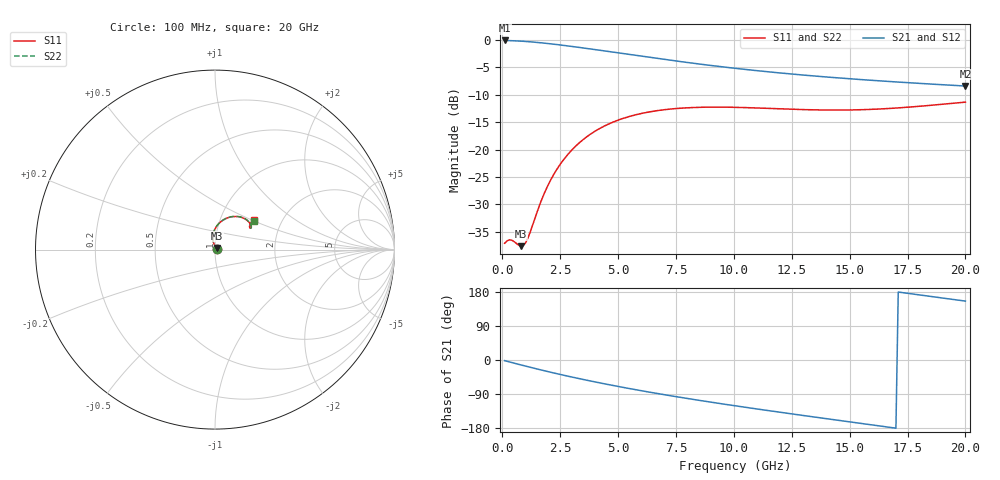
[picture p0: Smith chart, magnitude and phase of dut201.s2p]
! Touchstone file exported from HFSS 2024.1.0
!  File:  C:/UserFiles/LocalFiles/RDL_TSV_Batchsim/temp_RDL_TSV_201_1779444197.aedt
!  Generated:  06:15:59 PM May 22, 2026
!  Design:  RDL_TSV
!  Project:  temp_RDL_TSV_201_1779444197
!  Setup:  Setup1
!  Solution:  Sweep
! Variables:
!  dtsv = 7.25um
!  hbump = 3um
!  htsv = 78.6um
!  ldown = 288.49um
!  lrdl = 532.8um
!  p = 40
!  p1 = 42.14um
!  rhole = 10um
!  subl = 2996.67um
!  t = 450um
!  tdown = 3.43um
!  trdl = 3.89um
!  viad = 10um
!  wdown = 24.47um
!  wrdl = 22.27um
!  xbump = 18um
# GHz S MA R 50.000000
! Terminal data exported
! Port[1] = TM1_1_T1
! Port[2] = TM1_4_T1
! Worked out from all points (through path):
!   200 points, 100 MHz to 20 GHz, reference 50 ohm
!   highest |S21| = -0.12 dB at 100 MHz (marker M1); lowest = -8.4 dB at 20 GHz (marker M2)
!   group delay of S21, straight-line fit = 27.1 ps
!   lowest |S11| = -37.6 dB at 800 MHz (marker M3), VSWR 1.03, Z = 51 + j0.922 ohm
!   |S11| at or under -10 dB: start of sweep to end of sweep
!   |S22| runs from -37.6 to -11.4 dB; largest |S21 - S12| = 1.1e-14
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0.1  0.01398 7.5  0.9858 -1.7  0.9858 -1.7  0.01398 7.5
! Gamma 0 0 0 0
! Port Impedance 50 0 50 0
0.3  0.01502 15.5  0.9828 -5.0  0.9828 -5.0  0.01501 15.5
0.4  0.01494 18.5  0.981 -6.6  0.981 -6.6  0.01494 18.5
0.8  0.01315 43.4  0.9717 -12.9  0.9717 -12.9  0.01314 43.5
0.9  0.01329 53.7  0.9688 -14.5  0.9688 -14.5  0.01328 53.8
1.1  0.01547 74.3  0.9622 -17.6  0.9622 -17.6  0.01547 74.5
1.7  0.03489 100.9  0.9375 -26.7  0.9375 -26.7  0.03494 101.1
1.9  0.04374 102.2  0.928 -29.6  0.928 -29.6  0.04381 102.3
2.2  0.05811 101.6  0.913 -33.9  0.913 -33.9  0.05821 101.7
2.8  0.08859 96.2  0.881 -42.2  0.881 -42.2  0.08878 96.3
3.5  0.1236 87.8  0.8422 -51.5  0.8422 -51.5  0.1239 87.9
4.2  0.1552 79.2  0.8034 -60.3  0.8034 -60.3  0.1556 79.3
4.9  0.1818 71.1  0.7655 -68.6  0.7655 -68.6  0.1824 71.2
5.8  0.2082 61.9  0.7191 -78.8  0.7191 -78.8  0.2089 61.9
6.8  0.2277 53.1  0.6714 -89.5  0.6714 -89.5  0.2287 53.2
8.4  0.242 42.4  0.6052 -105.5  0.6052 -105.5  0.2432 42.5
10.1  0.2422 35.1  0.5481 -121.3  0.5481 -121.3  0.2436 35.1
11.7  0.2361 31.6  0.5053 -135.3  0.5053 -135.3  0.2377 31.5
13.4  0.23 31.1  0.469 -149.9  0.469 -149.9  0.2315 30.9
15  0.2292 32.6  0.4413 -163.3  0.4413 -163.3  0.2306 32.3
16.7  0.2365 35.0  0.4168 -177.4  0.4168 -177.4  0.2375 34.6
20  0.2703 37.1  0.3789 155.4  0.3789 155.4  0.2705 36.7
